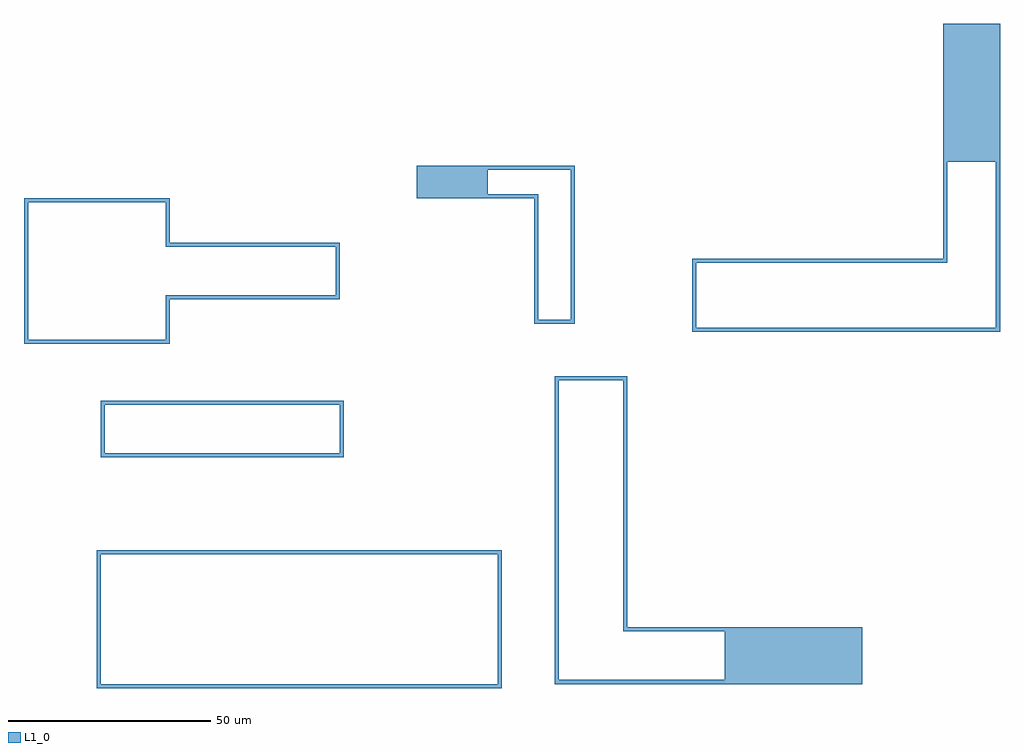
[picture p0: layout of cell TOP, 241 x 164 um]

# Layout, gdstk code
import gdstk
lib = gdstk.Library(unit=1e-6, precision=1e-09)
def P(c, l, *ps):  # polygons
    for p in ps: c.add(gdstk.Polygon(p, *l))
L1_0 = (1, 0)

top = lib.new_cell('TOP')
P(top, L1_0, [(6,-101),(6,-68),(7,-68),(7,-100),(105,-100),(105,-68),(6,-68),(6,-67),(106,-67),(106,-101)],
  [(7,-44),(7,-31),(8,-31),(8,-43),(66,-43),(66,-31),(7,-31),(7,-30),(67,-30),(67,-44)],
  [(119,-100),(119,-25),(120,-25),(120,-99),(161,-99),(161,-87),(136,-87),(136,-25),(119,-25),(119,-24),(137,-24),(137,-86),(195,-86),(195,-100)],
  [(-12,-16),(-12,19),(-11,19),(-11,-15),(23,-15),(23,-4),(65,-4),(65,8),(23,8),(23,19),(-12,19),(-12,20),(24,20),(24,9),(66,9),(66,-5),(24,-5),(24,-16)],
  [(114,-11),(114,20),(85,20),(85,27),(102.5,27),(102.5,21),(115,21),(115,-10),(123,-10),(123,27),(85,27),(85,28),(124,28),(124,-11)],
  [(153,-13),(153,5),(215,5),(215,29),(216,29),(216,4),(154,4),(154,-12),(228,-12),(228,29),(215,29),(215,63),(229,63),(229,-13)])

lib.write_gds('TOP.gds')
